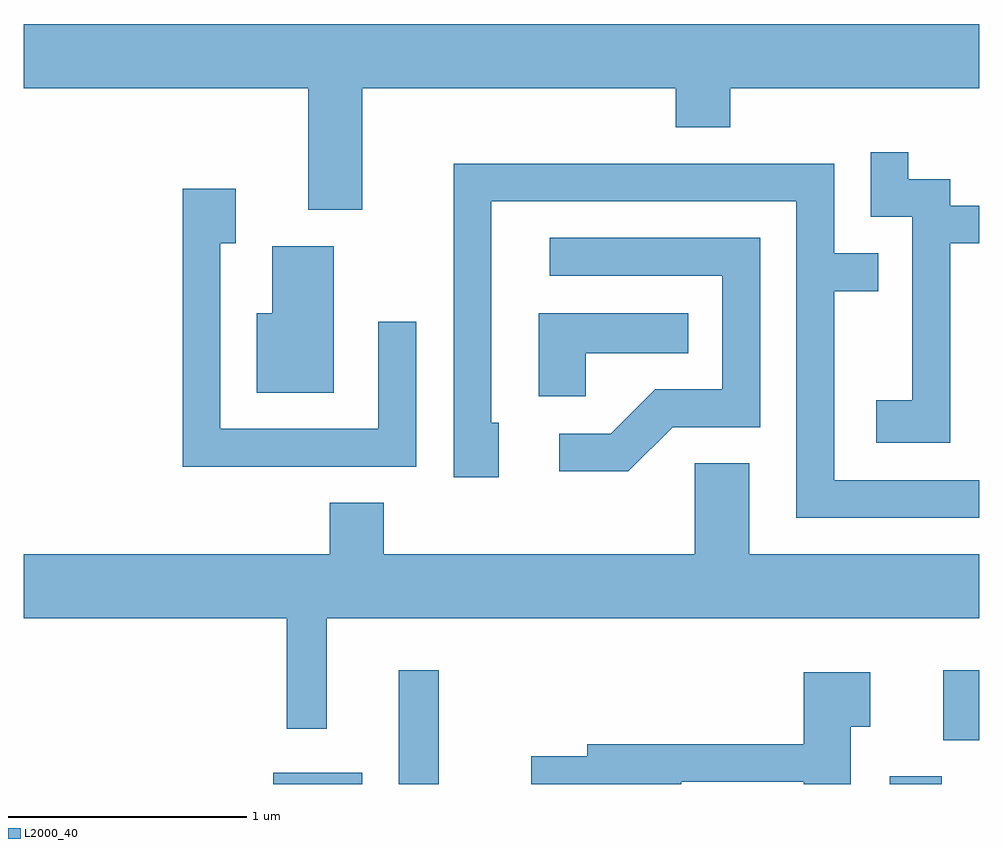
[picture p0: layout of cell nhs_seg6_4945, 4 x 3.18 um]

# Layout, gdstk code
import gdstk
lib = gdstk.Library(unit=1e-6, precision=1e-09)
def R(c, l, rs):  # rectangles x0, y0, x1, y1
    for r in rs: c.add(gdstk.rectangle(r[:2], r[2:], *l))
def P(c, l, *ps):  # polygons
    for p in ps: c.add(gdstk.Polygon(p, *l))
L2000_40 = (2000, 40)

nhs_seg6_4945 = lib.new_cell('nhs_seg6_4945')
R(nhs_seg6_4945, L2000_40, [(336.656,1618.162,337.029,1618.209), (337.181,1618.162,337.349,1618.638), (339.236,1618.162,339.454,1618.194), (339.461,1618.346,339.611,1618.638)])
P(nhs_seg6_4945, L2000_40, [(337.029,1621.076),(338.341,1621.076),(338.341,1620.911),(338.569,1620.911),(338.569,1621.076),(339.611,1621.076),(339.611,1621.344),(335.611,1621.344),(335.611,1621.076),(336.801,1621.076),(336.801,1620.566),(337.029,1620.566)],
  [(339.489,1620.426),(339.611,1620.426),(339.611,1620.584),(339.489,1620.584),(339.489,1620.694),(339.314,1620.694),(339.314,1620.808),(339.156,1620.808),(339.156,1620.536),(339.331,1620.536),(339.331,1619.769),(339.181,1619.769),(339.181,1619.591),(339.489,1619.591)],
  [(339.611,1619.434),(339.004,1619.434),(339.004,1620.226),(339.188,1620.226),(339.188,1620.384),(339.004,1620.384),(339.004,1620.759),(337.411,1620.759),(337.411,1619.446),(337.599,1619.446),(337.599,1619.674),(337.569,1619.674),(337.569,1620.601),(338.846,1620.601),(338.846,1619.276),(339.611,1619.276)],
  [(337.254,1620.098),(337.096,1620.098),(337.096,1619.649),(336.434,1619.649),(336.434,1620.426),(336.499,1620.426),(336.499,1620.654),(336.276,1620.654),(336.276,1619.491),(337.254,1619.491)],
  [(338.327,1619.656),(338.694,1619.656),(338.694,1620.449),(337.813,1620.449),(337.813,1620.291),(338.536,1620.291),(338.536,1619.814),(338.254,1619.814),(338.069,1619.629),(337.853,1619.629),(337.853,1619.471),(338.142,1619.471)],
  [(336.909,1620.414),(336.651,1620.414),(336.651,1620.134),(336.586,1620.134),(336.586,1619.801),(336.909,1619.801)],
  [(337.964,1619.966),(338.393,1619.966),(338.393,1620.134),(337.766,1620.134),(337.766,1619.786),(337.964,1619.786)],
  [(336.879,1618.856),(339.611,1618.856),(339.611,1619.124),(338.649,1619.124),(338.649,1619.504),(338.421,1619.504),(338.421,1619.124),(337.119,1619.124),(337.119,1619.339),(336.891,1619.339),(336.891,1619.124),(335.611,1619.124),(335.611,1618.856),(336.711,1618.856),(336.711,1618.393),(336.879,1618.393)],
  [(338.364,1618.171),(338.876,1618.171),(338.876,1618.162),(339.074,1618.162),(339.074,1618.401),(339.154,1618.401),(339.154,1618.629),(338.876,1618.629),(338.876,1618.329),(337.971,1618.329),(337.971,1618.279),(337.736,1618.279),(337.736,1618.162),(338.364,1618.162)])

lib.write_gds('nhs_seg6_4945.gds')
